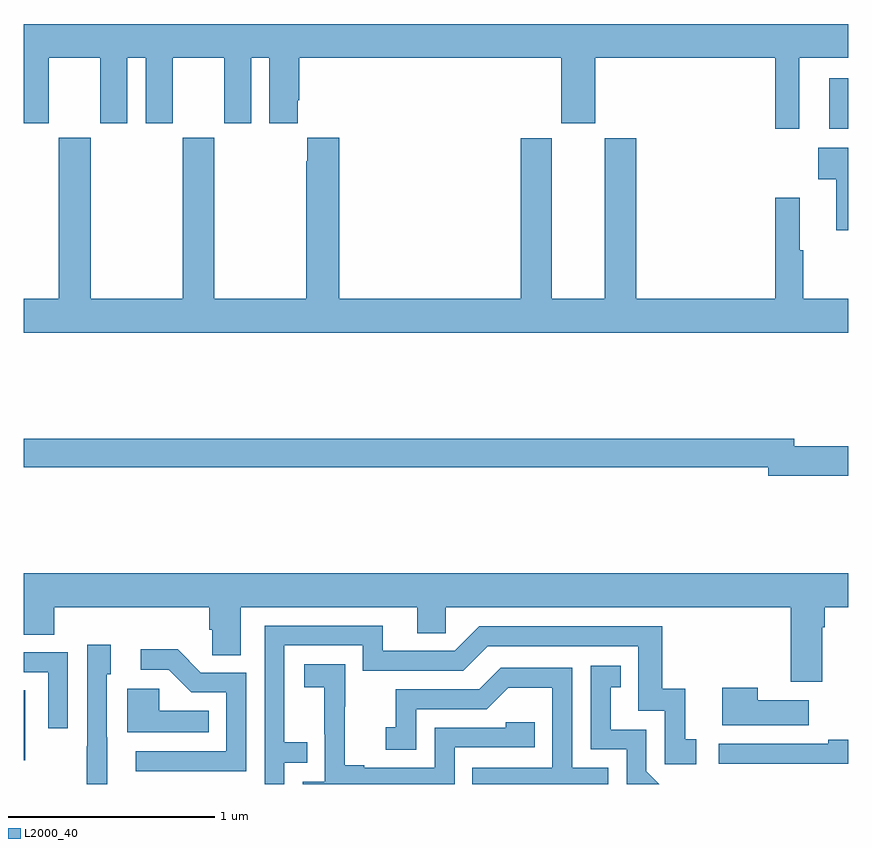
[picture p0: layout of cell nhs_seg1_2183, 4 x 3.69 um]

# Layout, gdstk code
import gdstk
lib = gdstk.Library(unit=1e-6, precision=1e-09)
def R(c, l, rs):  # rectangles x0, y0, x1, y1
    for r in rs: c.add(gdstk.rectangle(r[:2], r[2:], *l))
def P(c, l, *ps):  # polygons
    for p in ps: c.add(gdstk.Polygon(p, *l))
L2000_40 = (2000, 40)

nhs_seg1_2183 = lib.new_cell('nhs_seg1_2183')
R(nhs_seg1_2183, L2000_40, [(229,560.313,229.009,560.653), (232.907,563.375,233,563.62)])
P(nhs_seg1_2183, L2000_40, [(229,563.403),(229.123,563.403),(229.123,563.72),(229.373,563.72),(229.373,563.403),(229.504,563.403),(229.504,563.72),(229.592,563.72),(229.592,563.403),(229.723,563.403),(229.723,563.72),(229.973,563.72),(229.973,563.403),(230.104,563.403),(230.104,563.72),(230.192,563.72),(230.192,563.403),(230.329,563.403),(230.329,563.515),(230.336,563.515),(230.336,563.72),(231.608,563.72),(231.608,563.403),(231.772,563.403),(231.772,563.72),(232.645,563.72),(232.645,563.376),(232.762,563.376),(232.762,563.72),(233,563.72),(233,563.884),(229,563.884)],
  [(233,562.552),(232.781,562.552),(232.781,562.788),(232.763,562.788),(232.763,563.041),(232.645,563.041),(232.645,562.552),(231.971,562.552),(231.971,563.331),(231.818,563.331),(231.818,562.552),(231.562,562.552),(231.562,563.331),(231.41,563.331),(231.41,562.552),(230.531,562.552),(230.531,563.332),(230.375,563.332),(230.375,563.219),(230.371,563.219),(230.371,562.552),(229.926,562.552),(229.926,563.332),(229.771,563.332),(229.771,562.552),(229.326,562.552),(229.326,563.332),(229.171,563.332),(229.171,562.552),(229,562.552),(229,562.388),(233,562.388)],
  [(233,563.284),(232.854,563.284),(232.854,563.132),(232.94,563.132),(232.94,562.884),(233,562.884)],
  [(232.999,561.836),(232.738,561.836),(232.738,561.872),(229,561.872),(229,561.736),(232.61,561.736),(232.61,561.694),(232.999,561.694)],
  [(232.873,560.96),(232.886,560.96),(232.886,561.056),(233,561.056),(233,561.22),(229,561.22),(229,560.923),(229.148,560.923),(229.148,561.056),(229.901,561.056),(229.901,560.947),(229.914,560.947),(229.914,560.824),(230.053,560.824),(230.053,561.056),(230.909,561.056),(230.909,560.929),(231.048,560.929),(231.048,561.056),(232.721,561.056),(232.721,560.694),(232.873,560.694)],
  [(230.265,560.301),(230.375,560.301),(230.375,560.402),(230.265,560.402),(230.265,560.871),(230.646,560.871),(230.646,560.748),(231.132,560.748),(231.252,560.868),(231.981,560.868),(231.981,560.553),(232.11,560.553),(232.11,560.295),(232.261,560.295),(232.261,560.415),(232.208,560.415),(232.208,560.662),(232.097,560.662),(232.097,560.964),(231.21,560.964),(231.09,560.844),(230.743,560.844),(230.743,560.967),(230.169,560.967),(230.169,560.199),(230.265,560.199)],
  [(229.405,560.426),(229.404,560.426),(229.404,560.73),(229.423,560.73),(229.423,560.875),(229.308,560.875),(229.308,560.381),(229.306,560.381),(229.306,560.199),(229.405,560.199)],
  [(230.079,560.739),(229.86,560.739),(229.747,560.852),(229.569,560.852),(229.569,560.754),(229.703,560.754),(229.814,560.643),(229.983,560.643),(229.983,560.358),(229.545,560.358),(229.545,560.262),(230.079,560.262)],
  [(229.215,560.838),(229,560.838),(229,560.742),(229.119,560.742),(229.119,560.469),(229.215,560.469)],
  [(231.09,560.376),(231.479,560.376),(231.479,560.499),(231.339,560.499),(231.339,560.472),(230.994,560.472),(230.994,560.277),(230.653,560.277),(230.653,560.29),(230.558,560.29),(230.558,560.573),(230.559,560.573),(230.559,560.779),(230.361,560.779),(230.361,560.669),(230.459,560.669),(230.459,560.441),(230.46,560.441),(230.46,560.211),(230.355,560.211),(230.355,560.199),(231.09,560.199)],
  [(232.02,560.262),(232.02,560.463),(231.847,560.463),(231.847,560.667),(231.896,560.667),(231.896,560.773),(231.75,560.773),(231.75,560.367),(231.924,560.367),(231.924,560.199),(232.083,560.199)],
  [(231.834,560.277),(231.66,560.277),(231.66,560.763),(231.314,560.763),(231.209,560.658),(230.806,560.658),(230.806,560.473),(230.757,560.473),(230.757,560.364),(230.904,560.364),(230.904,560.562),(231.246,560.562),(231.35,560.666),(231.564,560.666),(231.564,560.277),(231.175,560.277),(231.175,560.199),(231.834,560.199)],
  [(232.807,560.605),(232.559,560.605),(232.559,560.665),(232.388,560.665),(232.388,560.483),(232.807,560.483)],
  [(229.898,560.554),(229.659,560.554),(229.659,560.662),(229.502,560.662),(229.502,560.45),(229.898,560.45)],
  [(233,560.414),(232.903,560.414),(232.903,560.394),(232.371,560.394),(232.371,560.298),(233,560.298)])

lib.write_gds('nhs_seg1_2183.gds')
